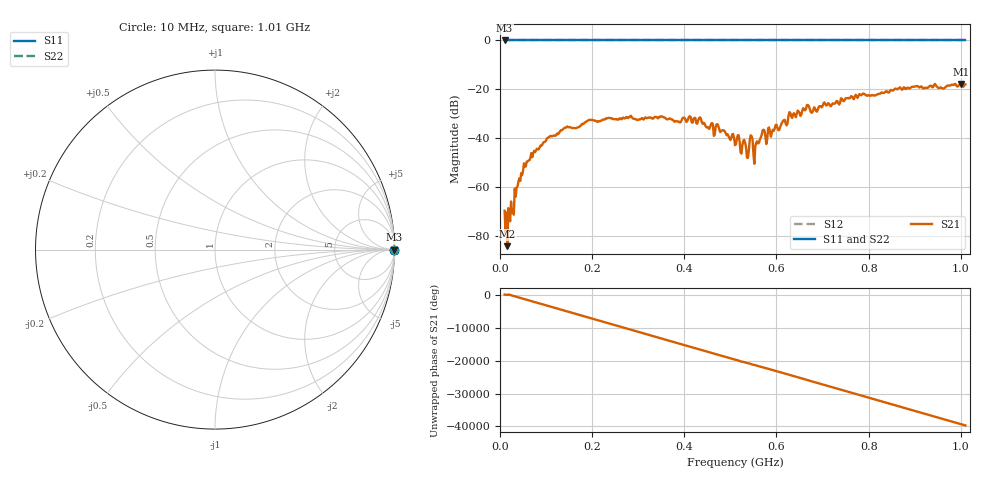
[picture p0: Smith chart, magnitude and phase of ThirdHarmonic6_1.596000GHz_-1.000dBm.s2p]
! 8/16/2025 7:01:27 PM
! C:\ANRITSUVNA\TEMP\TEMP.S2P
! CHANNEL.1
! TR.MEASUREMENT
! RAW.DATA
! RF.CORRECTION.OFF
! AVERAGING.OFF
! IF.BANDWIDTH: 5KHZ
! SWEEPTYPE:  FREQ.SWEEP(Linear)
! Reference Plane Port Info
! PORT:  PORT1  PORT2
! DISTANCE:  0  m  0  m
! TIME:  0  s  0  s
! PHASE.OFFSET:  0  deg.  0  deg.
! LOSS:  0  dB  0  dB
! REF.LOSS:  0  dB  0  dB
! REF.FREQ:  0  Hz  0  Hz
! Power Info
! POWER:  -20  dBm  -20  dBm
! EFF.POWER:  -20  dBm  -20  dBm
! SOURCE.ATTEN:  0  dB  0  dB
! TEST.ATTEN:  0  dB  0  dB
# GHZ S RI R 50.0
! FREQ.GHZ  S11RE  S11IM  S21RE  S21IM  S12RE  S12IM  S22RE  S22IM
!; PortSelection: Port_12
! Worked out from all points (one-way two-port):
!   501 points, 10 MHz to 1.01 GHz, reference 50 ohm
!   highest |S21| = -17.74 dB at 1 GHz (marker M1); lowest = -84.1 dB at 16 MHz (marker M2)
!   lowest |S11| = 0.0 dB at 10 MHz (marker M3)
!   |S11| at or under -10 dB: nowhere
!   |S22| runs from 0.0 to 0.0 dB; largest |S21 - S12| = 1.1
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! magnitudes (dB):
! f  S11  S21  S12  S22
! 10 MHz  0.0  -69.6  0.0  0.0
! 16 MHz  0.0  -84.1  0.0  0.0
! 26 MHz  0.0  -70.5  0.0  0.0
! 36 MHz  0.0  -60.1  0.0  0.0
! 50 MHz  0.0  -53.4  0.0  0.0
! 70 MHz  0.0  -47.7  0.0  0.0
! 106 MHz  0.0  -39.5  0.0  0.0
! 178 MHz  0.0  -34.1  0.0  0.0
! 344 MHz  0.0  -31.8  0.0  0.0
! 434 MHz  0.0  -31.4  0.0  0.0
! 510 MHz  0.0  -42.8  0.0  0.0
! 530 MHz  0.0  -40.7  0.0  0.0
! 536 MHz  0.0  -47.9  0.0  0.0
! 544 MHz  0.0  -38.8  0.0  0.0
! 554 MHz  0.0  -43.4  0.0  0.0
! 570 MHz  0.0  -36.8  0.0  0.0
! 578 MHz  0.0  -42.4  0.0  0.0
! 666 MHz  0.0  -26.4  0.0  0.0
! 678 MHz  0.0  -29.4  0.0  0.0
! 844 MHz  0.0  -21.3  0.0  0.0
! 1 GHz  0.0  -17.7  0.0  0.0
! 1.01 GHz  0.0  -18.0  0.0  0.0
